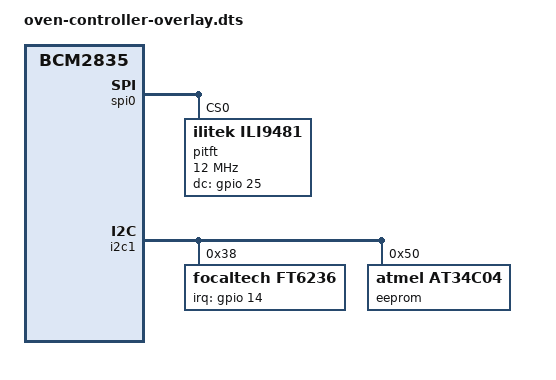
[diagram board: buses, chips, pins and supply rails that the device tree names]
/*
 * Device Tree overlay for MLL Electronics Oven Controller
 *
 */

/dts-v1/;
/plugin/;

/ {
        compatible = "brcm,bcm2835";

        fragment@0 {
                target = <&spi0>;
                __overlay__ {
                        status = "okay";
                };
        };

        fragment@1 {
                target = <&spidev0>;
                __overlay__ {
                        status = "disabled";
                };
        };

        fragment@2 {
                target = <&gpio>;
                __overlay__ {
                        oven_controller_pins: oven_controller_pins {
                                brcm,pins = <14 25>;
                                brcm,function = <0 1>; /* in out */
                                brcm,pull = <2 0>; /* pullup none */
                        };
                };
        };

        fragment@3 {
                target = <&spi0>;
                __overlay__ {
                        /* needed to avoid dtc warning */
                        #address-cells = <1>;
                        #size-cells = <0>;

                        pitft: pitft@0{
                                compatible = "ilitek,ili9481";
                                reg = <0>;
                                pinctrl-names = "default";
                                pinctrl-0 = <&oven_controller_pins>;

                                spi-max-frequency = <12000000>;
                                rotate = <180>;
                                fps = <25>;
                                bgr;
                                buswidth = <8>;
                                dc-gpios = <&gpio 25 0>;
                                debug = <0>;
                        };
                };
        };

        fragment@4 {
                target = <&i2c1>;
                __overlay__ {
                        /* needed to avoid dtc warning */
                        #address-cells = <1>;
                        #size-cells = <0>;

                        ft6236: ft6236@38 {
                                compatible = "focaltech,ft6236";
                                reg = <0x38>;

                                interrupt-parent = <&gpio>;
                                interrupts = <14 2>;
                                touchscreen-size-x = <320>;
                                touchscreen-size-y = <480>;
                        };

                        eeprom: eeprom@50 {
                                compatible = "atmel,at34c04", "atmel,at24c04";
                                reg = <0x50>;

                                pagesize = <16>;
                                size = <256>;
                                address-width = <8>;
                                num-addresses = <1>;
                        };
                };
        };

        __overrides__ {
                speed =   <&pitft>,"spi-max-frequency:0";
                rotate =  <&pitft>,"rotate:0";
                fps =     <&pitft>,"fps:0";
                debug =   <&pitft>,"debug:0";
                touch-sizex = <&ft6236>,"touchscreen-size-x?";
                touch-sizey = <&ft6236>,"touchscreen-size-y?";
                touch-invx  = <&ft6236>,"touchscreen-inverted-x?";
                touch-invy  = <&ft6236>,"touchscreen-inverted-y?";
                touch-swapxy = <&ft6236>,"touchscreen-swapped-x-y?";
        };
};
